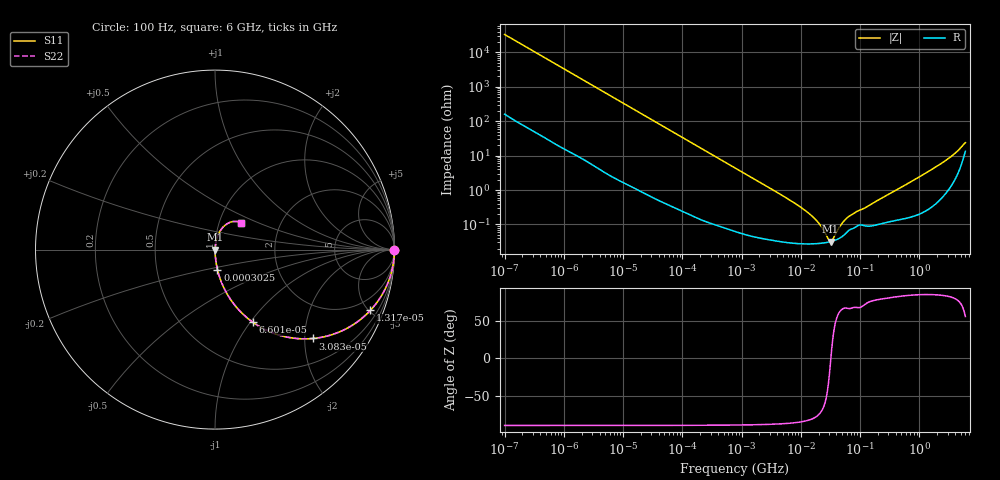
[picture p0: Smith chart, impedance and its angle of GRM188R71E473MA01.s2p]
!Murata Part Number: GRM188R71E473MA01
!These Parameters are Measured in Series Mode Connection
!Data Generated on Mar 30, 2021
!  o--ll--o
!Port1  Port2
!  o------o
!Operation Temp=25[degC], DC Bias Voltage=0[V]
!Freq. Start=100[Hz] Stop=6[GHz] 401[Steps]
# Hz S RI R 50
!Freq.(Hz) S11(Real) S11(Imag) S21(Real) S21(Imag) S12(Real) S12(Imag) S22(Real) S22(Imag)
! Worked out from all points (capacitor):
!   401 points, 100 Hz to 6 GHz, reference 50 ohm
!   read as one part in series: C = 47.8 nF near 109 Hz
!   lowest |Z| = 31.9 mohm at 31.85 MHz (marker M1)
!   series resonance near 32.15 MHz, so ESL is about 510 pH
!   S11 on the Smith chart (normalised r, x): 100 Hz: open; 13.17 kHz: 1.03, -5.12; 30.83 kHz: 1.01, -2.19; 66 kHz: 1.01, -1.03; 302.5 kHz: 1.00, -0.23; 6 GHz: 1.27, +0.40
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100  1 -0.00301  2.36e-05 0.00301  2.36e-05 0.00301  1 -0.00301
2008  0.9961 -0.0597  0.00387 0.0597  0.00387 0.0597  0.9961 -0.0597
5378  0.9744 -0.1558  0.0256 0.1558  0.0256 0.1558  0.9744 -0.1558
13169  0.8663 -0.3378  0.1337 0.3378  0.1337 0.3378  0.8663 -0.3378
30832  0.5455 -0.4951  0.4545 0.4951  0.4545 0.4951  0.5455 -0.4951
40335  0.4134 -0.4895  0.5866 0.4895  0.5866 0.4895  0.4134 -0.4895
66005  0.2101 -0.4041  0.7899 0.4041  0.7899 0.4041  0.2101 -0.4041
123542  0.0719 -0.2547  0.9281 0.2547  0.9281 0.2547  0.0719 -0.2547
302498  0.0136 -0.111  0.9864 0.111  0.9864 0.111  0.0136 -0.111
774597  0.00257 -0.0441  0.9974 0.0441  0.9974 0.0441  0.00257 -0.0441
6644369  0.000315 -0.005  0.9997 0.005  0.9997 0.005  0.000315 -0.005
1.555665e7  0.000276 -0.00172  0.9997 0.00172  0.9997 0.00172  0.000276 -0.00172
2.035112e7  0.000282 -0.00103  0.9997 0.00103  0.9997 0.00103  0.000282 -0.00103
2.911731e7  0.000307 -0.000216  0.9997 0.000216  0.9997 0.000216  0.000307 -0.000216
3.184506e7  0.000318 -2.05e-05  0.9997 2.05e-05  0.9997 2.05e-05  0.000318 -2.05e-05
3.482834e7  0.000332 0.000175  0.9997 -0.000175  0.9997 -0.000175  0.000332 0.000175
4.983056e7  0.000446 0.000991  0.9996 -0.000991  0.9996 -0.000991  0.000446 0.000991
6.233367e7  0.000642 0.0015  0.9994 -0.0015  0.9994 -0.0015  0.000642 0.0015
3.124326e8  0.00125 0.00764  0.9987 -0.00764  0.9987 -0.00764  0.00125 0.00764
3.205649e9  0.0178 0.083  0.9822 -0.083  0.9822 -0.083  0.0178 0.083
4.586474e9  0.0497 0.1299  0.9503 -0.1299  0.9503 -0.1299  0.0497 0.1299
6e9  0.1434 0.1495  0.8566 -0.1495  0.8566 -0.1495  0.1434 0.1495
